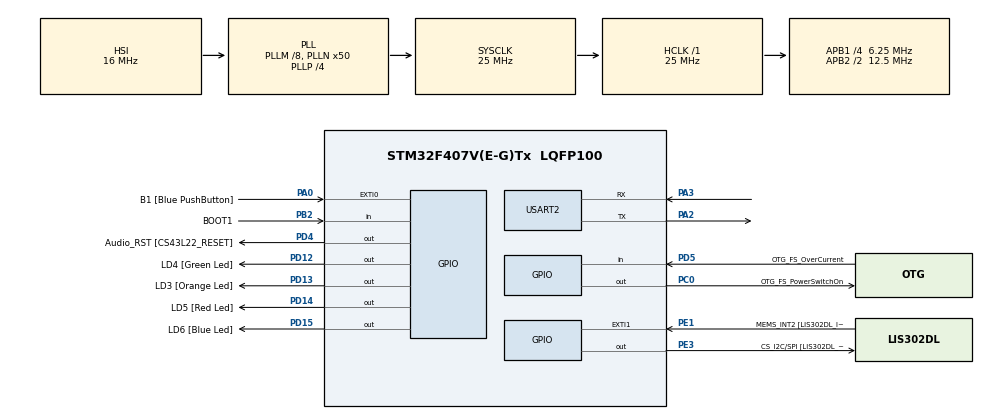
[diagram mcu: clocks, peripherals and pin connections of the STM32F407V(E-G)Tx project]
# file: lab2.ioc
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Mcu.Family=STM32F4
Mcu.Name=STM32F407V(E-G)Tx
Mcu.Package=LQFP100
NVIC.PriorityGroup=NVIC_PRIORITYGROUP_4
NVIC.TIM7_IRQn=true\:0\:0\:false\:false\:true\:false\:true\:true
NVIC.TimeBase=TIM7_IRQn
NVIC.TimeBaseIP=TIM7
PA0-WKUP.GPIO_Label=B1 [Blue PushButton]
PA0-WKUP.Signal=GPXTI0
PA10.GPIO_Label=OTG_FS_ID
PA10.GPIO_Mode=GPIO_MODE_AF_PP
PA10.GPIO_PuPd=GPIO_NOPULL
PA10.GPIO_Speed=GPIO_SPEED_FREQ_LOW
PA10.Signal=USB_OTG_FS_ID
PA11.GPIO_Label=OTG_FS_DM
PA11.GPIO_Mode=GPIO_MODE_AF_PP
PA11.GPIO_PuPd=GPIO_NOPULL
PA11.GPIO_Speed=GPIO_SPEED_FREQ_LOW
PA11.Signal=USB_OTG_FS_DM
PA12.GPIO_Label=OTG_FS_DP
PA12.GPIO_Mode=GPIO_MODE_AF_PP
PA12.GPIO_PuPd=GPIO_NOPULL
PA12.GPIO_Speed=GPIO_SPEED_FREQ_LOW
PA12.Signal=USB_OTG_FS_DP
PA13.GPIO_Label=SWDIO
PA13.Signal=SYS_JTMS-SWDIO
PA14.GPIO_Label=SWCLK
PA14.Signal=SYS_JTCK-SWCLK
PA2.Mode=Asynchronous
PA2.Signal=USART2_TX
PA3.Mode=Asynchronous
PA3.Signal=USART2_RX
PA4.GPIO_Label=I2S3_WS [CS43L22_LRCK]
PA4.GPIO_Mode=GPIO_MODE_AF_PP
PA4.GPIO_PuPd=GPIO_NOPULL
PA4.GPIO_Speed=GPIO_SPEED_FREQ_LOW
PA4.Signal=I2S3_WS
PA5.GPIO_Label=SPI1_SCK [LIS302DL_SCL/SPC]
PA5.GPIO_Mode=GPIO_MODE_AF_PP
PA5.GPIO_PuPd=GPIO_NOPULL
PA5.GPIO_Speed=GPIO_SPEED_FREQ_LOW
PA5.Signal=SPI1_SCK
PA6.GPIO_Label=SPI1_MISO [LIS302DL_SDO]
PA6.GPIO_Mode=GPIO_MODE_AF_PP
PA6.GPIO_PuPd=GPIO_NOPULL
PA6.GPIO_Speed=GPIO_SPEED_FREQ_LOW
PA6.Signal=SPI1_MISO
PA7.GPIO_Label=SPI1_MOSI [LIS302DL_SDA/SDI/SDO]
PA7.GPIO_Mode=GPIO_MODE_AF_PP
PA7.GPIO_PuPd=GPIO_NOPULL
PA7.GPIO_Speed=GPIO_SPEED_FREQ_LOW
PA7.Signal=SPI1_MOSI
PA9.GPIO_Label=VBUS_FS
PA9.GPIO_Mode=GPIO_MODE_INPUT
PA9.GPIO_PuPd=GPIO_NOPULL
PA9.Signal=USB_OTG_FS_VBUS
PB10.GPIO_Label=CLK_IN [MP45DT02_CLK]
PB10.GPIO_Mode=GPIO_MODE_AF_PP
PB10.GPIO_PuPd=GPIO_NOPULL
PB10.GPIO_Speed=GPIO_SPEED_FREQ_LOW
PB10.Signal=I2S2_CK
PB2.GPIO_Label=BOOT1
PB2.GPIO_Mode=GPIO_MODE_INPUT
PB2.GPIO_PuPd=GPIO_NOPULL
PB2.Signal=GPIO_Input
PB3.GPIO_Label=SWO
PB3.Signal=SYS_JTDO-SWO
PB6.GPIO_Label=Audio_SCL [CS43L22_SCL]
PB6.GPIO_Mode=GPIO_MODE_AF_OD
PB6.GPIO_PuPd=GPIO_NOPULL
PB6.GPIO_Speed=GPIO_SPEED_FREQ_LOW
PB6.Signal=I2C1_SCL
PB9.GPIO_Label=Audio_SDA [CS43L22_SDA]
PB9.GPIO_Mode=GPIO_MODE_AF_OD
PB9.GPIO_PuPd=GPIO_NOPULL
PB9.GPIO_Speed=GPIO_SPEED_FREQ_LOW
PB9.Signal=I2C1_SDA
PC0.GPIO_Label=OTG_FS_PowerSwitchOn
PC0.GPIO_PuPd=GPIO_NOPULL
PC0.GPIO_Speed=GPIO_SPEED_FREQ_LOW
PC0.PinState=GPIO_PIN_SET
PC0.Signal=GPIO_Output
PC10.GPIO_Label=I2S3_SCK [CS43L22_SCLK]
PC10.GPIO_Mode=GPIO_MODE_AF_PP
PC10.GPIO_PuPd=GPIO_NOPULL
PC10.GPIO_Speed=GPIO_SPEED_FREQ_LOW
PC10.Signal=I2S3_CK
PC12.GPIO_Label=I2S3_SD [CS43L22_SDIN]
PC12.GPIO_Mode=GPIO_MODE_AF_PP
PC12.GPIO_PuPd=GPIO_NOPULL
PC12.GPIO_Speed=GPIO_SPEED_FREQ_LOW
PC12.Signal=I2S3_SD
PC14-OSC32_IN.GPIO_Label=PC14-OSC32_IN
PC14-OSC32_IN.Signal=RCC_OSC32_IN
PC15-OSC32_OUT.GPIO_Label=PC15-OSC32_OUT
PC15-OSC32_OUT.Signal=RCC_OSC32_OUT
PC3.GPIO_Label=PDM_OUT [MP45DT02_DOUT]
PC3.GPIO_Mode=GPIO_MODE_AF_PP
PC3.GPIO_PuPd=GPIO_NOPULL
PC3.GPIO_Speed=GPIO_SPEED_FREQ_LOW
PC3.Signal=I2S2_SD
PC7.GPIO_Label=I2S3_MCK [CS43L22_MCLK]
PC7.GPIO_Mode=GPIO_MODE_AF_PP
PC7.GPIO_PuPd=GPIO_NOPULL
PC7.GPIO_Speed=GPIO_SPEED_FREQ_LOW
PC7.Signal=I2S3_MCK
PD12.GPIO_Label=LD4 [Green Led]
PD12.GPIO_PuPd=GPIO_NOPULL
PD12.GPIO_Speed=GPIO_SPEED_FREQ_LOW
PD12.Signal=GPIO_Output
PD13.GPIO_Label=LD3 [Orange Led]
PD13.GPIO_PuPd=GPIO_NOPULL
PD13.GPIO_Speed=GPIO_SPEED_FREQ_LOW
PD13.Signal=GPIO_Output
PD14.GPIO_Label=LD5 [Red Led]
PD14.GPIO_PuPd=GPIO_NOPULL
PD14.GPIO_Speed=GPIO_SPEED_FREQ_LOW
PD14.Signal=GPIO_Output
PD15.GPIO_Label=LD6 [Blue Led]
PD15.GPIO_PuPd=GPIO_NOPULL
PD15.GPIO_Speed=GPIO_SPEED_FREQ_LOW
PD15.Signal=GPIO_Output
PD4.GPIO_Label=Audio_RST [CS43L22_RESET]
PD4.GPIO_PuPd=GPIO_NOPULL
PD4.GPIO_Speed=GPIO_SPEED_FREQ_LOW
PD4.Signal=GPIO_Output
PD5.GPIO_Label=OTG_FS_OverCurrent
PD5.GPIO_Mode=GPIO_MODE_INPUT
PD5.GPIO_PuPd=GPIO_NOPULL
PD5.Signal=GPIO_Input
PE1.GPIO_Label=MEMS_INT2 [LIS302DL_INT2]
PE1.GPIO_ModeDefaultEXTI=GPIO_MODE_EVT_RISING
PE1.GPIO_PuPd=GPIO_NOPULL
PE1.Signal=GPXTI1
PE3.GPIO_Label=CS_I2C/SPI [LIS302DL_CS_I2C/SPI]
PE3.GPIO_PuPd=GPIO_NOPULL
PE3.GPIO_Speed=GPIO_SPEED_FREQ_LOW
PE3.Signal=GPIO_Output
PH0-OSC_IN.GPIO_Label=PH0-OSC_IN
PH0-OSC_IN.Signal=RCC_OSC_IN
PH1-OSC_OUT.GPIO_Label=PH1-OSC_OUT
PH1-OSC_OUT.Signal=RCC_OSC_OUT
ProjectManager.HeapSize=0x200
ProjectManager.StackSize=0x400
ProjectManager.TargetToolchain=STM32CubeIDE
RCC.48MHZClocksFreq_Value=14285714.285714285
RCC.AHBFreq_Value=25000000
RCC.APB1CLKDivider=RCC_HCLK_DIV4
RCC.APB1Freq_Value=6250000
RCC.APB1TimFreq_Value=12500000
RCC.APB2CLKDivider=RCC_HCLK_DIV2
RCC.APB2Freq_Value=12500000
RCC.APB2TimFreq_Value=25000000
RCC.CortexFreq_Value=25000000
RCC.HCLKFreq_Value=25000000
RCC.HSE_VALUE=8000000
RCC.HSI_VALUE=16000000
RCC.LSE_VALUE=32768
RCC.PLLM=8
RCC.PLLN=50
RCC.PLLP=RCC_PLLP_DIV4
RCC.PLLQ=7
RCC.SYSCLKFreq_VALUE=25000000
RCC.SYSCLKSource=RCC_SYSCLKSOURCE_PLLCLK
RCC.VCOOutputFreq_Value=100000000
USART2.VirtualMode=VM_ASYNC
VP_SYS_VS_tim7.Mode=TIM7
board=STM32F407G-DISC1

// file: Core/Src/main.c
/* USER CODE BEGIN Header */
/**
  ******************************************************************************
  * @file           : main.c
  * @brief          : Main program body
  ******************************************************************************
  * @attention
  *
  * Copyright (c) 2026 STMicroelectronics.
  * All rights reserved.
  *
  * This software is licensed under terms that can be found in the LICENSE file
  * in the root directory of this software component.
  * If no LICENSE file comes with this software, it is provided AS-IS.
  *
  ******************************************************************************
  */
/* USER CODE END Header */
#include "main.h"

/* USER CODE BEGIN Includes */
#include <stdlib.h>
#include "string.h"
#include <stdio.h>
#include "FreeRTOS.h"
#include "task.h"

/* USER CODE END Includes */

/* USER CODE BEGIN PV */
UART_HandleTypeDef huart2;
/* USER CODE END PV */

void SystemClock_Config(void);
static void MX_GPIO_Init(void);
static void MX_USART2_UART_Init(void);

/* USER CODE BEGIN 0 */
void USART_Test(void *pvParameters){
	uint32_t Monitortimer = 400;
	char MonitorTest[30];
	char num[15];
	int i = 0;
	while(1){
		memset(MonitorTest, '\0', sizeof(MonitorTest));
		memset(num, '\0', sizeof(num));
		itoa(i, num, 10);
		strcat(num, " ");
		sprintf(MonitorTest, "The point is %s\n\r", num);
		HAL_UART_Transmit(&huart2, (uint8_t *)MonitorTest, strlen(MonitorTest), 0xffff);
		vTaskDelay(Monitortimer);
		Monitortimer += 1;
		i += 1;
	}
}

void TaskMonitor_App(void *pvParameters){
for(;;){
	Taskmonitor();
	vTaskDelay(1000);
	}
}

void Red_LED_App(void *pvParameters){
	uint32_t Redtimer = 800;
	for(;;){
		HAL_GPIO_TogglePin(GPIOD, GPIO_PIN_14);
		vTaskDelay(Redtimer);
		Redtimer+=1;
	}
}

void Green_LED_App(void *pvParameters){
	uint32_t Greentimer = 1000;
	for(;;){
		HAL_GPIO_TogglePin(GPIOD, GPIO_PIN_12);
		vTaskDelay(Greentimer);
		Greentimer+=2;
	}
}

void Delay_App(void *pvParameters){
	int delayflag=0;
	uint32_t delaytime;
	while(1){
		if(delayflag==0){
			delaytime = 1000;
			delayflag=1;
		}else{
			delaytime=0xFFFFFFFF;
		}
		vTaskDelay(delaytime);
	}
}

/* USER CODE END 0 */

int main(void)
{

  /* MCU Configuration--------------------------------------------------------*/

  /* Reset of all peripherals, Initializes the Flash interface and the Systick. */
  HAL_Init();

  /* Configure the system clock */
  SystemClock_Config();

  /* Initialize all configured peripherals */
  MX_GPIO_Init();
  MX_USART2_UART_Init();
  /* USER CODE BEGIN 2 */
  xTaskCreate(
		  Red_LED_App,
	      "RED_LED",
	      128,
	      NULL,
	      1,
	      NULL
	  );
  xTaskCreate(
		  Green_LED_App,
	      "Green_LED",
	      128,
	      NULL,
	      1,
	      NULL
	  );
  xTaskCreate(
		  TaskMonitor_App,
	      "TaskMonitor",
	      256,
	      NULL,
	      3,
	      NULL
	  );
  xTaskCreate(
 		  Delay_App,
 	      "Delay_App",
 	      128,
 	      NULL,
 	      14,
 	      NULL
 	  );

  vTaskStartScheduler();

  /* USER CODE END 2 */

  /* Infinite loop */
  while (1)
  {

  }
}

void SystemClock_Config(void)
{
  RCC_OscInitTypeDef RCC_OscInitStruct = {0};
  RCC_ClkInitTypeDef RCC_ClkInitStruct = {0};

  /** Configure the main internal regulator output voltage
  */
  __HAL_RCC_PWR_CLK_ENABLE();
  __HAL_PWR_VOLTAGESCALING_CONFIG(PWR_REGULATOR_VOLTAGE_SCALE1);

  /** Initializes the RCC Oscillators according to the specified parameters
  * in the RCC_OscInitTypeDef structure.
  */
  RCC_OscInitStruct.OscillatorType = RCC_OSCILLATORTYPE_HSI;
  RCC_OscInitStruct.HSIState = RCC_HSI_ON;
  RCC_OscInitStruct.HSICalibrationValue = RCC_HSICALIBRATION_DEFAULT;
  RCC_OscInitStruct.PLL.PLLState = RCC_PLL_ON;
  RCC_OscInitStruct.PLL.PLLSource = RCC_PLLSOURCE_HSI;
  RCC_OscInitStruct.PLL.PLLM = 8;
  RCC_OscInitStruct.PLL.PLLN = 50;
  RCC_OscInitStruct.PLL.PLLP = RCC_PLLP_DIV4;
  RCC_OscInitStruct.PLL.PLLQ = 7;
  if (HAL_RCC_OscConfig(&RCC_OscInitStruct) != HAL_OK)
  {
    Error_Handler();
  }

  /** Initializes the CPU, AHB and APB buses clocks
  */
  RCC_ClkInitStruct.ClockType = RCC_CLOCKTYPE_HCLK|RCC_CLOCKTYPE_SYSCLK
                              |RCC_CLOCKTYPE_PCLK1|RCC_CLOCKTYPE_PCLK2;
  RCC_ClkInitStruct.SYSCLKSource = RCC_SYSCLKSOURCE_PLLCLK;
  RCC_ClkInitStruct.AHBCLKDivider = RCC_SYSCLK_DIV1;
  RCC_ClkInitStruct.APB1CLKDivider = RCC_HCLK_DIV4;
  RCC_ClkInitStruct.APB2CLKDivider = RCC_HCLK_DIV2;

  if (HAL_RCC_ClockConfig(&RCC_ClkInitStruct, FLASH_LATENCY_0) != HAL_OK)
  {
    Error_Handler();
  }
}

static void MX_USART2_UART_Init(void)
{

  huart2.Instance = USART2;
  huart2.Init.BaudRate = 115200;
  huart2.Init.WordLength = UART_WORDLENGTH_8B;
  huart2.Init.StopBits = UART_STOPBITS_1;
  huart2.Init.Parity = UART_PARITY_NONE;
  huart2.Init.Mode = UART_MODE_TX_RX;
  huart2.Init.HwFlowCtl = UART_HWCONTROL_NONE;
  huart2.Init.OverSampling = UART_OVERSAMPLING_16;
  if (HAL_UART_Init(&huart2) != HAL_OK)
  {
    Error_Handler();
  }

}

static void MX_GPIO_Init(void)
{
  GPIO_InitTypeDef GPIO_InitStruct = {0};

  /* GPIO Ports Clock Enable */
  __HAL_RCC_GPIOE_CLK_ENABLE();
  __HAL_RCC_GPIOC_CLK_ENABLE();
  __HAL_RCC_GPIOH_CLK_ENABLE();
  __HAL_RCC_GPIOA_CLK_ENABLE();
  __HAL_RCC_GPIOB_CLK_ENABLE();
  __HAL_RCC_GPIOD_CLK_ENABLE();

  /*Configure GPIO pin Output Level */
  HAL_GPIO_WritePin(CS_I2C_SPI_GPIO_Port, CS_I2C_SPI_Pin, GPIO_PIN_RESET);

  /*Configure GPIO pin Output Level */
  HAL_GPIO_WritePin(OTG_FS_PowerSwitchOn_GPIO_Port, OTG_FS_PowerSwitchOn_Pin, GPIO_PIN_SET);

  /*Configure GPIO pin Output Level */
  HAL_GPIO_WritePin(GPIOD, LD4_Pin|LD3_Pin|LD5_Pin|LD6_Pin
                          |Audio_RST_Pin, GPIO_PIN_RESET);

  /*Configure GPIO pin : CS_I2C_SPI_Pin */
  GPIO_InitStruct.Pin = CS_I2C_SPI_Pin;
  GPIO_InitStruct.Mode = GPIO_MODE_OUTPUT_PP;
  GPIO_InitStruct.Pull = GPIO_NOPULL;
  GPIO_InitStruct.Speed = GPIO_SPEED_FREQ_LOW;
  HAL_GPIO_Init(CS_I2C_SPI_GPIO_Port, &GPIO_InitStruct);

  /*Configure GPIO pin : OTG_FS_PowerSwitchOn_Pin */
  GPIO_InitStruct.Pin = OTG_FS_PowerSwitchOn_Pin;
  GPIO_InitStruct.Mode = GPIO_MODE_OUTPUT_PP;
  GPIO_InitStruct.Pull = GPIO_NOPULL;
  GPIO_InitStruct.Speed = GPIO_SPEED_FREQ_LOW;
  HAL_GPIO_Init(OTG_FS_PowerSwitchOn_GPIO_Port, &GPIO_InitStruct);

  /*Configure GPIO pin : PDM_OUT_Pin */
  GPIO_InitStruct.Pin = PDM_OUT_Pin;
  GPIO_InitStruct.Mode = GPIO_MODE_AF_PP;
  GPIO_InitStruct.Pull = GPIO_NOPULL;
  GPIO_InitStruct.Speed = GPIO_SPEED_FREQ_LOW;
  GPIO_InitStruct.Alternate = GPIO_AF5_SPI2;
  HAL_GPIO_Init(PDM_OUT_GPIO_Port, &GPIO_InitStruct);

  /*Configure GPIO pin : B1_Pin */
  GPIO_InitStruct.Pin = B1_Pin;
  GPIO_InitStruct.Mode = GPIO_MODE_IT_RISING;
  GPIO_InitStruct.Pull = GPIO_NOPULL;
  HAL_GPIO_Init(B1_GPIO_Port, &GPIO_InitStruct);

  /*Configure GPIO pin : I2S3_WS_Pin */
  GPIO_InitStruct.Pin = I2S3_WS_Pin;
  GPIO_InitStruct.Mode = GPIO_MODE_AF_PP;
  GPIO_InitStruct.Pull = GPIO_NOPULL;
  GPIO_InitStruct.Speed = GPIO_SPEED_FREQ_LOW;
  GPIO_InitStruct.Alternate = GPIO_AF6_SPI3;
  HAL_GPIO_Init(I2S3_WS_GPIO_Port, &GPIO_InitStruct);

  /*Configure GPIO pins : SPI1_SCK_Pin SPI1_MISO_Pin SPI1_MOSI_Pin */
  GPIO_InitStruct.Pin = SPI1_SCK_Pin|SPI1_MISO_Pin|SPI1_MOSI_Pin;
  GPIO_InitStruct.Mode = GPIO_MODE_AF_PP;
  GPIO_InitStruct.Pull = GPIO_NOPULL;
  GPIO_InitStruct.Speed = GPIO_SPEED_FREQ_LOW;
  GPIO_InitStruct.Alternate = GPIO_AF5_SPI1;
  HAL_GPIO_Init(GPIOA, &GPIO_InitStruct);

  /*Configure GPIO pin : BOOT1_Pin */
  GPIO_InitStruct.Pin = BOOT1_Pin;
  GPIO_InitStruct.Mode = GPIO_MODE_INPUT;
  GPIO_InitStruct.Pull = GPIO_NOPULL;
  HAL_GPIO_Init(BOOT1_GPIO_Port, &GPIO_InitStruct);

  /*Configure GPIO pin : CLK_IN_Pin */
  GPIO_InitStruct.Pin = CLK_IN_Pin;
  GPIO_InitStruct.Mode = GPIO_MODE_AF_PP;
  GPIO_InitStruct.Pull = GPIO_NOPULL;
  GPIO_InitStruct.Speed = GPIO_SPEED_FREQ_LOW;
  GPIO_InitStruct.Alternate = GPIO_AF5_SPI2;
  HAL_GPIO_Init(CLK_IN_GPIO_Port, &GPIO_InitStruct);

  /*Configure GPIO pins : LD4_Pin LD3_Pin LD5_Pin LD6_Pin
                           Audio_RST_Pin */
  GPIO_InitStruct.Pin = LD4_Pin|LD3_Pin|LD5_Pin|LD6_Pin
                          |Audio_RST_Pin;
  GPIO_InitStruct.Mode = GPIO_MODE_OUTPUT_PP;
  GPIO_InitStruct.Pull = GPIO_NOPULL;
  GPIO_InitStruct.Speed = GPIO_SPEED_FREQ_LOW;
  HAL_GPIO_Init(GPIOD, &GPIO_InitStruct);

  /*Configure GPIO pins : I2S3_MCK_Pin I2S3_SCK_Pin I2S3_SD_Pin */
  GPIO_InitStruct.Pin = I2S3_MCK_Pin|I2S3_SCK_Pin|I2S3_SD_Pin;
  GPIO_InitStruct.Mode = GPIO_MODE_AF_PP;
  GPIO_InitStruct.Pull = GPIO_NOPULL;
  GPIO_InitStruct.Speed = GPIO_SPEED_FREQ_LOW;
  GPIO_InitStruct.Alternate = GPIO_AF6_SPI3;
  HAL_GPIO_Init(GPIOC, &GPIO_InitStruct);

  /*Configure GPIO pin : VBUS_FS_Pin */
  GPIO_InitStruct.Pin = VBUS_FS_Pin;
  GPIO_InitStruct.Mode = GPIO_MODE_INPUT;
  GPIO_InitStruct.Pull = GPIO_NOPULL;
  HAL_GPIO_Init(VBUS_FS_GPIO_Port, &GPIO_InitStruct);

  /*Configure GPIO pins : OTG_FS_ID_Pin OTG_FS_DM_Pin OTG_FS_DP_Pin */
  GPIO_InitStruct.Pin = OTG_FS_ID_Pin|OTG_FS_DM_Pin|OTG_FS_DP_Pin;
  GPIO_InitStruct.Mode = GPIO_MODE_AF_PP;
  GPIO_InitStruct.Pull = GPIO_NOPULL;
  GPIO_InitStruct.Speed = GPIO_SPEED_FREQ_LOW;
  GPIO_InitStruct.Alternate = GPIO_AF10_OTG_FS;
  HAL_GPIO_Init(GPIOA, &GPIO_InitStruct);

  /*Configure GPIO pin : OTG_FS_OverCurrent_Pin */
  GPIO_InitStruct.Pin = OTG_FS_OverCurrent_Pin;
  GPIO_InitStruct.Mode = GPIO_MODE_INPUT;
  GPIO_InitStruct.Pull = GPIO_NOPULL;
  HAL_GPIO_Init(OTG_FS_OverCurrent_GPIO_Port, &GPIO_InitStruct);

  /*Configure GPIO pins : Audio_SCL_Pin Audio_SDA_Pin */
  GPIO_InitStruct.Pin = Audio_SCL_Pin|Audio_SDA_Pin;
  GPIO_InitStruct.Mode = GPIO_MODE_AF_OD;
  GPIO_InitStruct.Pull = GPIO_NOPULL;
  GPIO_InitStruct.Speed = GPIO_SPEED_FREQ_LOW;
  GPIO_InitStruct.Alternate = GPIO_AF4_I2C1;
  HAL_GPIO_Init(GPIOB, &GPIO_InitStruct);

  /*Configure GPIO pin : MEMS_INT2_Pin */
  GPIO_InitStruct.Pin = MEMS_INT2_Pin;
  GPIO_InitStruct.Mode = GPIO_MODE_EVT_RISING;
  GPIO_InitStruct.Pull = GPIO_NOPULL;
  HAL_GPIO_Init(MEMS_INT2_GPIO_Port, &GPIO_InitStruct);

}

void HAL_TIM_PeriodElapsedCallback(TIM_HandleTypeDef *htim)
{
  if (htim->Instance == TIM7)
  {
    HAL_IncTick();
  }
}

void Error_Handler(void)
{
  __disable_irq();
  while (1)
  {
  }
}
